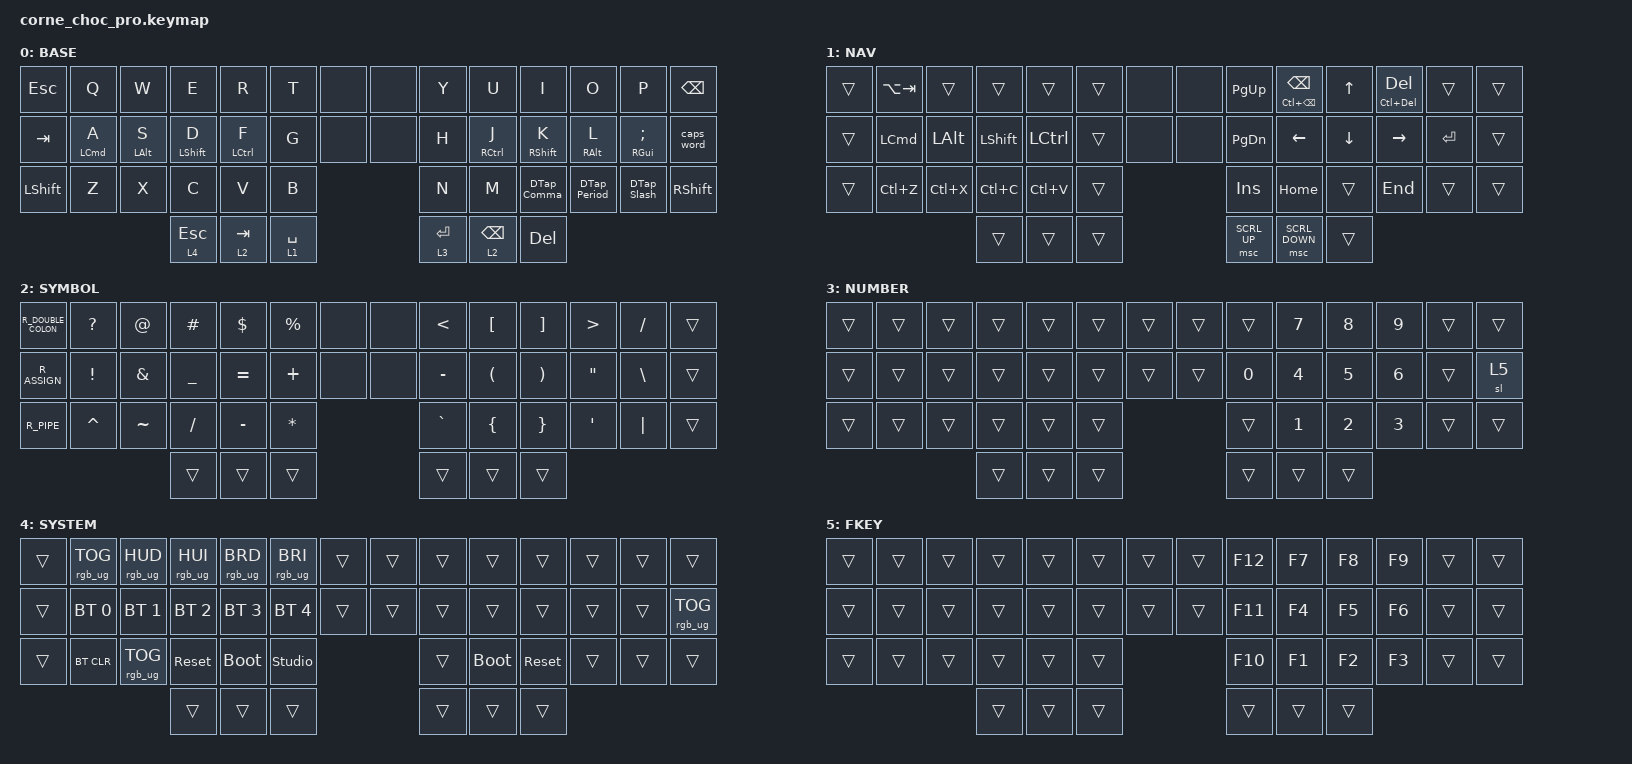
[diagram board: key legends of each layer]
/*
 * Copyright (c) 2020 The ZMK Contributors
 *
 * SPDX-License-Identifier: MIT
 */

#include <behaviors.dtsi>
#include <dt-bindings/zmk/bt.h>
#include <dt-bindings/zmk/keys.h>
#include <dt-bindings/zmk/pointing.h>
#include <dt-bindings/zmk/rgb.h>

/ {
    chosen { zmk,physical-layout = &default_layout; };
};

/ {
    combos {
        compatible = "zmk,combos";

        Leader {
            bindings = <&kp ESC>;
            key-positions = <23 24>;
        };
    };

    macros {
        R_DOUBLE_COLON: DOUBLE_COLON {
            compatible = "zmk,behavior-macro";
            #binding-cells = <0>;
            bindings = <&kp COLON &kp COLON>;
            label = "DOUBLE_COLON";
        };

        R_ASSIGN: R_ASSIGN {
            compatible = "zmk,behavior-macro";
            #binding-cells = <0>;
            bindings = <&kp SPACE &kp LT &kp MINUS &kp SPACE>;
            label = "R_ASSIGN";
        };

        R_PIPE: R_PIPE {
            compatible = "zmk,behavior-macro";
            #binding-cells = <0>;
            bindings = <&none &kp SPACE &kp PIPE &kp GT &kp RET>;
            label = "R_PIPE";
        };
    };

    behaviors {
        HRM_ShiftR: HRM_ShiftR {
            compatible = "zmk,behavior-hold-tap";
            label = "HRM_SHIFTR";
            bindings = <&kp>, <&kp>;

            #binding-cells = <2>;
            tapping-term-ms = <200>;
            hold-trigger-key-positions = <4 5 18 19 0 1 2 3 4 5 6 14 15 16 17 18 19 20 28 29 30 31 32 33 41 42 40 43 44 45>;
            flavor = "balanced";
            quick-tap-ms = <175>;
            require-prior-idle-ms = <150>;
        };

        HRM_ShiftL: HRM_ShiftL {
            compatible = "zmk,behavior-hold-tap";
            label = "HRM_SHIFTL";
            bindings = <&kp>, <&kp>;

            #binding-cells = <2>;
            tapping-term-ms = <200>;
            hold-while-undecided;
            hold-trigger-key-positions = <7 8 9 10 11 12 13 21 22 23 24 25 26 27 34 35 36 37 38 39 43 44 45 42 41 40>;
            require-prior-idle-ms = <150>;
            flavor = "balanced";
            quick-tap-ms = <175>;
        };

        HRM_R: HRM_R {
            compatible = "zmk,behavior-hold-tap";
            label = "HRM_R";
            bindings = <&kp>, <&kp>;

            #binding-cells = <2>;
            tapping-term-ms = <300>;
            hold-trigger-key-positions = <4 5 18 19 0 1 2 3 4 5 6 14 15 16 17 18 19 20 28 29 30 31 32 33 41 42 40 43 44 45>;
            hold-trigger-on-release;
            flavor = "balanced";
            quick-tap-ms = <175>;
            require-prior-idle-ms = <150>;
        };

        HMR_L: HMR_L {
            compatible = "zmk,behavior-hold-tap";
            label = "HMR_L";
            bindings = <&kp>, <&kp>;

            #binding-cells = <2>;
            tapping-term-ms = <300>;
            hold-trigger-on-release;
            hold-trigger-key-positions = <7 8 9 10 11 12 13 21 22 23 24 25 26 27 34 35 36 37 38 39 43 44 45 42 41 40>;
            flavor = "balanced";
            quick-tap-ms = <175>;
            require-prior-idle-ms = <150>;
        };

        DTap_Period: DTap_Period {
            compatible = "zmk,behavior-tap-dance";
            label = "DTAP_PERIOD";
            #binding-cells = <0>;
            bindings = <&kp PERIOD>, <&kp COLON>;
        };

        DTap_Comma: DTap_Comma {
            compatible = "zmk,behavior-tap-dance";
            label = "DTAP_COMMA";
            #binding-cells = <0>;
            bindings = <&kp COMMA>, <&kp SEMICOLON>;
        };

        DTap_Slash: DTap_Slash {
            compatible = "zmk,behavior-tap-dance";
            label = "DTAP_SLASH";
            #binding-cells = <0>;
            bindings = <&kp SLASH>, <&kp NON_US_BACKSLASH>, <&kp PIPE>;
        };

        my_caps_word: my_caps_word {
            compatible = "zmk,behavior-caps-word";
            label = "MY_CAPS_WORD";
            #binding-cells = <0>;
            continue-list = <A B C D E F G H I J K L M N O P Q R S T U V W X Y Z UNDERSCORE BACKSPACE DELETE MINUS>;
        };
    };

    keymap {
        compatible = "zmk,keymap";

        Base {
            display-name = "BASE";

            // --------------------------------------------------------------------------------
            // |  TAB |  Q  |  W  |  E  |  R  |  T  |  MUTE |  PP   |  Y  |  U   |  I  |  O  |  P  | BSPC |
            // | CTRL |  A  |  S  |  D  |  F  |  G  |  LALT |  RALT |  H  |  J   |  K  |  L  |  ;  |  '   |
            // | SHFT |  Z  |  X  |  C  |  V  |  B  |               |  N  |  M   |  ,  |  .  |  /  | ESC  |
            //                    | GUI | LWR | SPC |               | ENT | RSE  | ALT |

            bindings = <
&kp ESCAPE  &kp Q          &kp W              &kp E                 &kp R           &kp T        &none  &none  &kp Y        &kp U            &kp I                 &kp O               &kp P                       &kp BSPC
&kp TAB     &HMR_L LCMD A  &HMR_L LEFT_ALT S  &HRM_ShiftL LSHIFT D  &HMR_L LCTRL F  &kp G        &none  &none  &kp H        &HRM_R RCTRL J   &HRM_ShiftR RSHIFT K  &HRM_R RIGHT_ALT L  &HRM_R RIGHT_GUI SEMICOLON  &caps_word
&kp LSHFT   &kp Z          &kp X              &kp C                 &kp V           &kp B                      &kp N        &kp M            &DTap_Comma           &DTap_Period        &DTap_Slash                 &kp RIGHT_SHIFT
                                              &lt 4 ESCAPE          &lt 2 TAB       &lt 1 SPACE                &lt 3 ENTER  &lt 2 BACKSPACE  &kp DELETE
            >;
        };

        Nav {
            display-name = "NAV";

            // -----------------------------------------------------------------------------------------
            // |  TAB |  1  |  2  |  3  |  4  |  5    |  LCTRL | RCTRL |  6  |  7  |  8  |  9  |  0  | BSPC |
            // | CTRL | BT1 | BT2 | BT3 | BT4 | BT5   |  LALT  | RALT  | LFT | DWN |  UP | RGT |     |      |
            // | SHFT | BTCR| RGB | RST | BOOT| Unlock|        |       |     |     |     |     |     |      |
            //                    | GUI |     | SPC   |        | ENT   |     | ALT |

            bindings = <
&trans  &kp LA(TAB)  &trans        &trans      &trans     &trans  &none  &none  &kp PAGE_UP    &mt LC(BACKSPACE) BACKSPACE  &kp UP_ARROW    &mt LC(DELETE) DELETE  &trans     &trans
&trans  &kp LCMD     &kp LEFT_ALT  &kp LSHIFT  &kp LCTRL  &trans  &none  &none  &kp PAGE_DOWN  &kp LEFT                     &kp DOWN_ARROW  &kp RIGHT              &kp ENTER  &trans
&trans  &kp LC(Z)    &kp LC(X)     &kp LC(C)   &kp LC(V)  &trans                &kp INSERT     &kp HOME                     &trans          &kp END                &trans     &trans
                                   &trans      &trans     &trans                &msc SCRL_UP   &msc SCRL_DOWN               &trans
            >;
        };

        Symbols {
            display-name = "SYMBOL";

            // -----------------------------------------------------------------------------------------
            // |  TAB |  !  |  @  |  #  |  $  |  %  | LCTRL | RCTRL |  ^  |  &  |  *  |  (  |  )  | BSPC |
            // | CTRL |     |     |     |     |     |  LALT | RALT  |  -  |  =  |  [  |  ]  |  \  |  `   |
            // | SHFT |     |     |     |     |     |               |  _  |  +  |  {  |  }  | "|" |  ~   |
            //                    | GUI |     | SPC |               | ENT |     | ALT |

            bindings = <
&R_DOUBLE_COLON  &kp QUESTION     &kp AT         &kp HASH        &kp DLLR   &kp PRCNT     &none  &none  &kp LESS_THAN  &kp LEFT_BRACKET      &kp RIGHT_BRACKET      &kp GREATER_THAN   &kp SLASH  &trans
&R_ASSIGN        &kp EXCLAMATION  &kp AMPERSAND  &kp UNDERSCORE  &kp EQUAL  &kp PLUS      &none  &none  &kp MINUS      &kp LEFT_PARENTHESIS  &kp RIGHT_PARENTHESIS  &kp DOUBLE_QUOTES  &kp BSLH   &trans
&R_PIPE          &kp CARET        &kp TILDE      &kp SLASH       &kp MINUS  &kp ASTERISK                &kp GRAVE      &kp LEFT_BRACE        &kp RIGHT_BRACE        &kp SQT            &kp PIPE   &trans
                                                 &trans          &trans     &trans                      &trans         &trans                &trans
            >;
        };

        Numbers {
            display-name = "NUMBER";
            bindings = <
&trans  &trans  &trans  &trans  &trans  &trans  &trans  &trans  &trans        &kp NUMBER_7  &kp NUMBER_8  &kp N9        &trans  &trans
&trans  &trans  &trans  &trans  &trans  &trans  &trans  &trans  &kp NUMBER_0  &kp NUMBER_4  &kp N5        &kp NUMBER_6  &trans  &sl 5
&trans  &trans  &trans  &trans  &trans  &trans                  &trans        &kp NUMBER_1  &kp NUMBER_2  &kp NUMBER_3  &trans  &trans
                        &trans  &trans  &trans                  &trans        &trans        &trans
            >;
        };

        System {
            display-name = "SYSTEM";
            bindings = <
&trans  &rgb_ug RGB_TOG  &rgb_ug RGB_HUD  &rgb_ug RGB_HUI  &rgb_ug RGB_BRD  &rgb_ug RGB_BRI  &trans  &trans  &trans  &trans       &trans      &trans  &trans  &trans
&trans  &bt BT_SEL 0     &bt BT_SEL 1     &bt BT_SEL 2     &bt BT_SEL 3     &bt BT_SEL 4     &trans  &trans  &trans  &trans       &trans      &trans  &trans  &rgb_ug RGB_TOG
&trans  &bt BT_CLR       &rgb_ug RGB_TOG  &sys_reset       &bootloader      &studio_unlock                   &trans  &bootloader  &sys_reset  &trans  &trans  &trans
                                          &trans           &trans           &trans                           &trans  &trans       &trans
            >;
        };

        FKeys {
            bindings = <
&trans  &trans  &trans  &trans  &trans  &trans  &trans  &trans  &kp F12  &kp F7  &kp F8  &kp F9  &trans  &trans
&trans  &trans  &trans  &trans  &trans  &trans  &trans  &trans  &kp F11  &kp F4  &kp F5  &kp F6  &trans  &trans
&trans  &trans  &trans  &trans  &trans  &trans                  &kp F10  &kp F1  &kp F2  &kp F3  &trans  &trans
                        &trans  &trans  &trans                  &trans   &trans  &trans
            >;

            label = "FKEY";
        };
    };
};
